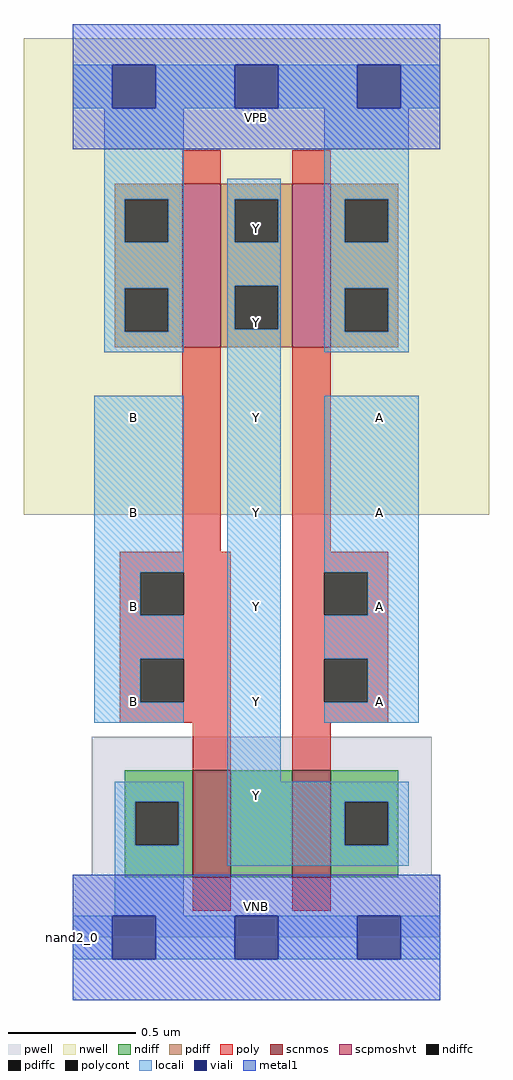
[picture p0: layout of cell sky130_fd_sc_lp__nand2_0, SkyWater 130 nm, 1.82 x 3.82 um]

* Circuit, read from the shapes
.subckt sky130_fd_sc_lp__nand2_0 A B VGND VNB VPB VPWR Y
XM1 n1 B VGND VNB sky130_fd_pr__nfet_01v8 w=0.42 l=0.15
XM2 Y A n1 VNB sky130_fd_pr__nfet_01v8 w=0.42 l=0.15
XM3 Y B VPWR VPB sky130_fd_pr__pfet_01v8_hvt w=0.64 l=0.15
XM4 VPWR A Y VPB sky130_fd_pr__pfet_01v8_hvt w=0.64 l=0.15
.ends

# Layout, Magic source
magic
tech sky130A
magscale 1 2
<< nwell >>
rect -38 331 326 704
<< pwell >>
rect 15 49 281 157
rect 0 0 288 49
<< scnmos >>
rect 94 47 124 131
rect 172 47 202 131
<< scpmoshvt >>
rect 86 462 116 590
rect 172 462 202 590
<< ndiff >>
rect 41 106 94 131
rect 41 72 49 106
rect 83 72 94 106
rect 41 47 94 72
rect 124 47 172 131
rect 202 106 255 131
rect 202 72 213 106
rect 247 72 255 106
rect 202 47 255 72
<< pdiff >>
rect 33 578 86 590
rect 33 544 41 578
rect 75 544 86 578
rect 33 508 86 544
rect 33 474 41 508
rect 75 474 86 508
rect 33 462 86 474
rect 116 578 172 590
rect 116 544 127 578
rect 161 544 172 578
rect 116 510 172 544
rect 116 476 127 510
rect 161 476 172 510
rect 116 462 172 476
rect 202 578 255 590
rect 202 544 213 578
rect 247 544 255 578
rect 202 508 255 544
rect 202 474 213 508
rect 247 474 255 508
rect 202 462 255 474
<< ndiffc >>
rect 49 72 83 106
rect 213 72 247 106
<< pdiffc >>
rect 41 544 75 578
rect 41 474 75 508
rect 127 544 161 578
rect 127 476 161 510
rect 213 544 247 578
rect 213 474 247 508
<< poly >>
rect 86 590 116 616
rect 172 590 202 616
rect 86 302 116 462
rect 172 302 202 462
rect 37 286 124 302
rect 37 252 53 286
rect 87 252 124 286
rect 37 218 124 252
rect 37 184 53 218
rect 87 184 124 218
rect 37 168 124 184
rect 94 131 124 168
rect 172 286 247 302
rect 172 252 197 286
rect 231 252 247 286
rect 172 218 247 252
rect 172 184 197 218
rect 231 184 247 218
rect 172 168 247 184
rect 172 131 202 168
rect 94 21 124 47
rect 172 21 202 47
<< polycont >>
rect 53 252 87 286
rect 53 184 87 218
rect 197 252 231 286
rect 197 184 231 218
<< locali >>
rect 0 649 31 683
rect 65 649 127 683
rect 161 649 223 683
rect 257 649 288 683
rect 25 578 87 649
rect 25 544 41 578
rect 75 544 87 578
rect 25 508 87 544
rect 25 474 41 508
rect 75 474 87 508
rect 25 458 87 474
rect 121 578 163 594
rect 121 544 127 578
rect 161 544 163 578
rect 121 510 163 544
rect 121 476 127 510
rect 161 476 163 510
rect 17 286 87 424
rect 17 252 53 286
rect 17 218 87 252
rect 17 184 53 218
rect 17 168 87 184
rect 121 122 163 476
rect 197 578 263 649
rect 197 544 213 578
rect 247 544 263 578
rect 197 508 263 544
rect 197 474 213 508
rect 247 474 263 508
rect 197 458 263 474
rect 197 286 271 424
rect 231 252 271 286
rect 197 218 271 252
rect 231 184 271 218
rect 197 168 271 184
rect 33 106 87 122
rect 33 72 49 106
rect 83 72 87 106
rect 33 17 87 72
rect 121 106 263 122
rect 121 72 213 106
rect 247 72 263 106
rect 121 56 263 72
rect 0 -17 31 17
rect 65 -17 127 17
rect 161 -17 223 17
rect 257 -17 288 17
<< viali >>
rect 31 649 65 683
rect 127 649 161 683
rect 223 649 257 683
rect 31 -17 65 17
rect 127 -17 161 17
rect 223 -17 257 17
<< metal1 >>
rect 0 683 288 715
rect 0 649 31 683
rect 65 649 127 683
rect 161 649 223 683
rect 257 649 288 683
rect 0 617 288 649
rect 0 17 288 49
rect 0 -17 31 17
rect 65 -17 127 17
rect 161 -17 223 17
rect 257 -17 288 17
rect 0 -49 288 -17
<< labels >>
flabel pwell s 0 0 288 49 0 FreeSans 200 0 0 0 VNB
port 4 nsew ground bidirectional
flabel nwell s 0 617 288 666 0 FreeSans 200 0 0 0 VPB
port 5 nsew power bidirectional
rlabel comment s 0 0 0 0 4 nand2_0
flabel metal1 s 0 617 288 666 0 FreeSans 340 0 0 0 VPWR
port 6 nsew power bidirectional
flabel metal1 s 0 0 288 49 0 FreeSans 340 0 0 0 VGND
port 3 nsew ground bidirectional
flabel locali s 223 168 257 202 0 FreeSans 340 0 0 0 A
port 1 nsew signal input
flabel locali s 223 242 257 276 0 FreeSans 340 0 0 0 A
port 1 nsew signal input
flabel locali s 223 316 257 350 0 FreeSans 340 0 0 0 A
port 1 nsew signal input
flabel locali s 223 390 257 424 0 FreeSans 340 0 0 0 A
port 1 nsew signal input
flabel locali s 127 94 161 128 0 FreeSans 340 0 0 0 Y
port 7 nsew signal output
flabel locali s 127 168 161 202 0 FreeSans 340 0 0 0 Y
port 7 nsew signal output
flabel locali s 127 242 161 276 0 FreeSans 340 0 0 0 Y
port 7 nsew signal output
flabel locali s 127 316 161 350 0 FreeSans 340 0 0 0 Y
port 7 nsew signal output
flabel locali s 127 390 161 424 0 FreeSans 340 0 0 0 Y
port 7 nsew signal output
flabel locali s 127 464 161 498 0 FreeSans 340 0 0 0 Y
port 7 nsew signal output
flabel locali s 127 538 161 572 0 FreeSans 340 0 0 0 Y
port 7 nsew signal output
flabel locali s 31 168 65 202 0 FreeSans 340 0 0 0 B
port 2 nsew signal input
flabel locali s 31 242 65 276 0 FreeSans 340 0 0 0 B
port 2 nsew signal input
flabel locali s 31 316 65 350 0 FreeSans 340 0 0 0 B
port 2 nsew signal input
flabel locali s 31 390 65 424 0 FreeSans 340 0 0 0 B
port 2 nsew signal input
<< properties >>
string LEFsite unit
string LEFclass CORE
string FIXED_BBOX 0 0 288 666
string GDS_FILE $PDKPATH/libs.ref/sky130_fd_sc_lp/gds/sky130_fd_sc_lp.gds
string LEFsymmetry X Y R90
string GDS_END 5785204
string GDS_START 5780196
<< end >>
